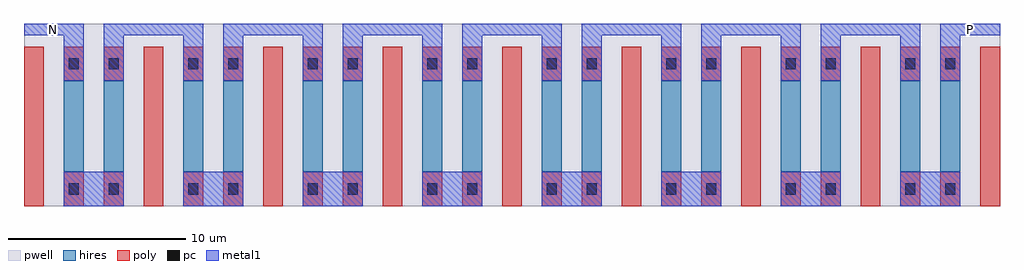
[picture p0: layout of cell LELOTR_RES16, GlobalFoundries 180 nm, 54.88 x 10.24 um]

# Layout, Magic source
magic
tech gf180mcuD
magscale 1 10
<< poly >>
rect 336 -64 560 64
rect 784 -64 1008 64
rect 1680 -64 1904 64
rect 2128 -64 2352 64
rect 3024 -64 3248 64
rect 3472 -64 3696 64
rect 4368 -64 4592 64
rect 4816 -64 5040 64
rect 5712 -64 5936 64
rect 6160 -64 6384 64
rect 7056 -64 7280 64
rect 7504 -64 7728 64
rect 8400 -64 8624 64
rect 8848 -64 9072 64
rect 9744 -64 9968 64
rect 10192 -64 10416 64
rect 336 64 560 192
rect 784 64 1008 192
rect 1680 64 1904 192
rect 2128 64 2352 192
rect 3024 64 3248 192
rect 3472 64 3696 192
rect 4368 64 4592 192
rect 4816 64 5040 192
rect 5712 64 5936 192
rect 6160 64 6384 192
rect 7056 64 7280 192
rect 7504 64 7728 192
rect 8400 64 8624 192
rect 8848 64 9072 192
rect 9744 64 9968 192
rect 10192 64 10416 192
rect 336 192 560 320
rect 784 192 1008 320
rect 1680 192 1904 320
rect 2128 192 2352 320
rect 3024 192 3248 320
rect 3472 192 3696 320
rect 4368 192 4592 320
rect 4816 192 5040 320
rect 5712 192 5936 320
rect 6160 192 6384 320
rect 7056 192 7280 320
rect 7504 192 7728 320
rect 8400 192 8624 320
rect 8848 192 9072 320
rect 9744 192 9968 320
rect 10192 192 10416 320
rect 336 1344 560 1472
rect 784 1344 1008 1472
rect 1680 1344 1904 1472
rect 2128 1344 2352 1472
rect 3024 1344 3248 1472
rect 3472 1344 3696 1472
rect 4368 1344 4592 1472
rect 4816 1344 5040 1472
rect 5712 1344 5936 1472
rect 6160 1344 6384 1472
rect 7056 1344 7280 1472
rect 7504 1344 7728 1472
rect 8400 1344 8624 1472
rect 8848 1344 9072 1472
rect 9744 1344 9968 1472
rect 10192 1344 10416 1472
rect 336 1472 560 1600
rect 784 1472 1008 1600
rect 1680 1472 1904 1600
rect 2128 1472 2352 1600
rect 3024 1472 3248 1600
rect 3472 1472 3696 1600
rect 4368 1472 4592 1600
rect 4816 1472 5040 1600
rect 5712 1472 5936 1600
rect 6160 1472 6384 1600
rect 7056 1472 7280 1600
rect 7504 1472 7728 1600
rect 8400 1472 8624 1600
rect 8848 1472 9072 1600
rect 9744 1472 9968 1600
rect 10192 1472 10416 1600
rect 336 1600 560 1728
rect 784 1600 1008 1728
rect 1680 1600 1904 1728
rect 2128 1600 2352 1728
rect 3024 1600 3248 1728
rect 3472 1600 3696 1728
rect 4368 1600 4592 1728
rect 4816 1600 5040 1728
rect 5712 1600 5936 1728
rect 6160 1600 6384 1728
rect 7056 1600 7280 1728
rect 7504 1600 7728 1728
rect 8400 1600 8624 1728
rect 8848 1600 9072 1728
rect 9744 1600 9968 1728
rect 10192 1600 10416 1728
rect -112 -64 112 64
rect 1232 -64 1456 64
rect 2576 -64 2800 64
rect 3920 -64 4144 64
rect 5264 -64 5488 64
rect 6608 -64 6832 64
rect 7952 -64 8176 64
rect 9296 -64 9520 64
rect 10640 -64 10864 64
rect -112 64 112 192
rect 1232 64 1456 192
rect 2576 64 2800 192
rect 3920 64 4144 192
rect 5264 64 5488 192
rect 6608 64 6832 192
rect 7952 64 8176 192
rect 9296 64 9520 192
rect 10640 64 10864 192
rect -112 192 112 320
rect 1232 192 1456 320
rect 2576 192 2800 320
rect 3920 192 4144 320
rect 5264 192 5488 320
rect 6608 192 6832 320
rect 7952 192 8176 320
rect 9296 192 9520 320
rect 10640 192 10864 320
rect -112 320 112 448
rect 1232 320 1456 448
rect 2576 320 2800 448
rect 3920 320 4144 448
rect 5264 320 5488 448
rect 6608 320 6832 448
rect 7952 320 8176 448
rect 9296 320 9520 448
rect 10640 320 10864 448
rect -112 448 112 576
rect 1232 448 1456 576
rect 2576 448 2800 576
rect 3920 448 4144 576
rect 5264 448 5488 576
rect 6608 448 6832 576
rect 7952 448 8176 576
rect 9296 448 9520 576
rect 10640 448 10864 576
rect -112 576 112 704
rect 1232 576 1456 704
rect 2576 576 2800 704
rect 3920 576 4144 704
rect 5264 576 5488 704
rect 6608 576 6832 704
rect 7952 576 8176 704
rect 9296 576 9520 704
rect 10640 576 10864 704
rect -112 704 112 832
rect 1232 704 1456 832
rect 2576 704 2800 832
rect 3920 704 4144 832
rect 5264 704 5488 832
rect 6608 704 6832 832
rect 7952 704 8176 832
rect 9296 704 9520 832
rect 10640 704 10864 832
rect -112 832 112 960
rect 1232 832 1456 960
rect 2576 832 2800 960
rect 3920 832 4144 960
rect 5264 832 5488 960
rect 6608 832 6832 960
rect 7952 832 8176 960
rect 9296 832 9520 960
rect 10640 832 10864 960
rect -112 960 112 1088
rect 1232 960 1456 1088
rect 2576 960 2800 1088
rect 3920 960 4144 1088
rect 5264 960 5488 1088
rect 6608 960 6832 1088
rect 7952 960 8176 1088
rect 9296 960 9520 1088
rect 10640 960 10864 1088
rect -112 1088 112 1216
rect 1232 1088 1456 1216
rect 2576 1088 2800 1216
rect 3920 1088 4144 1216
rect 5264 1088 5488 1216
rect 6608 1088 6832 1216
rect 7952 1088 8176 1216
rect 9296 1088 9520 1216
rect 10640 1088 10864 1216
rect -112 1216 112 1344
rect 1232 1216 1456 1344
rect 2576 1216 2800 1344
rect 3920 1216 4144 1344
rect 5264 1216 5488 1344
rect 6608 1216 6832 1344
rect 7952 1216 8176 1344
rect 9296 1216 9520 1344
rect 10640 1216 10864 1344
rect -112 1344 112 1472
rect 1232 1344 1456 1472
rect 2576 1344 2800 1472
rect 3920 1344 4144 1472
rect 5264 1344 5488 1472
rect 6608 1344 6832 1472
rect 7952 1344 8176 1472
rect 9296 1344 9520 1472
rect 10640 1344 10864 1472
rect -112 1472 112 1600
rect 1232 1472 1456 1600
rect 2576 1472 2800 1600
rect 3920 1472 4144 1600
rect 5264 1472 5488 1600
rect 6608 1472 6832 1600
rect 7952 1472 8176 1600
rect 9296 1472 9520 1600
rect 10640 1472 10864 1600
rect -112 1600 112 1728
rect 1232 1600 1456 1728
rect 2576 1600 2800 1728
rect 3920 1600 4144 1728
rect 5264 1600 5488 1728
rect 6608 1600 6832 1728
rect 7952 1600 8176 1728
rect 9296 1600 9520 1728
rect 10640 1600 10864 1728
<< hires >>
rect 336 320 560 448
rect 784 320 1008 448
rect 1680 320 1904 448
rect 2128 320 2352 448
rect 3024 320 3248 448
rect 3472 320 3696 448
rect 4368 320 4592 448
rect 4816 320 5040 448
rect 5712 320 5936 448
rect 6160 320 6384 448
rect 7056 320 7280 448
rect 7504 320 7728 448
rect 8400 320 8624 448
rect 8848 320 9072 448
rect 9744 320 9968 448
rect 10192 320 10416 448
rect 336 448 560 576
rect 784 448 1008 576
rect 1680 448 1904 576
rect 2128 448 2352 576
rect 3024 448 3248 576
rect 3472 448 3696 576
rect 4368 448 4592 576
rect 4816 448 5040 576
rect 5712 448 5936 576
rect 6160 448 6384 576
rect 7056 448 7280 576
rect 7504 448 7728 576
rect 8400 448 8624 576
rect 8848 448 9072 576
rect 9744 448 9968 576
rect 10192 448 10416 576
rect 336 576 560 704
rect 784 576 1008 704
rect 1680 576 1904 704
rect 2128 576 2352 704
rect 3024 576 3248 704
rect 3472 576 3696 704
rect 4368 576 4592 704
rect 4816 576 5040 704
rect 5712 576 5936 704
rect 6160 576 6384 704
rect 7056 576 7280 704
rect 7504 576 7728 704
rect 8400 576 8624 704
rect 8848 576 9072 704
rect 9744 576 9968 704
rect 10192 576 10416 704
rect 336 704 560 832
rect 784 704 1008 832
rect 1680 704 1904 832
rect 2128 704 2352 832
rect 3024 704 3248 832
rect 3472 704 3696 832
rect 4368 704 4592 832
rect 4816 704 5040 832
rect 5712 704 5936 832
rect 6160 704 6384 832
rect 7056 704 7280 832
rect 7504 704 7728 832
rect 8400 704 8624 832
rect 8848 704 9072 832
rect 9744 704 9968 832
rect 10192 704 10416 832
rect 336 832 560 960
rect 784 832 1008 960
rect 1680 832 1904 960
rect 2128 832 2352 960
rect 3024 832 3248 960
rect 3472 832 3696 960
rect 4368 832 4592 960
rect 4816 832 5040 960
rect 5712 832 5936 960
rect 6160 832 6384 960
rect 7056 832 7280 960
rect 7504 832 7728 960
rect 8400 832 8624 960
rect 8848 832 9072 960
rect 9744 832 9968 960
rect 10192 832 10416 960
rect 336 960 560 1088
rect 784 960 1008 1088
rect 1680 960 1904 1088
rect 2128 960 2352 1088
rect 3024 960 3248 1088
rect 3472 960 3696 1088
rect 4368 960 4592 1088
rect 4816 960 5040 1088
rect 5712 960 5936 1088
rect 6160 960 6384 1088
rect 7056 960 7280 1088
rect 7504 960 7728 1088
rect 8400 960 8624 1088
rect 8848 960 9072 1088
rect 9744 960 9968 1088
rect 10192 960 10416 1088
rect 336 1088 560 1216
rect 784 1088 1008 1216
rect 1680 1088 1904 1216
rect 2128 1088 2352 1216
rect 3024 1088 3248 1216
rect 3472 1088 3696 1216
rect 4368 1088 4592 1216
rect 4816 1088 5040 1216
rect 5712 1088 5936 1216
rect 6160 1088 6384 1216
rect 7056 1088 7280 1216
rect 7504 1088 7728 1216
rect 8400 1088 8624 1216
rect 8848 1088 9072 1216
rect 9744 1088 9968 1216
rect 10192 1088 10416 1216
rect 336 1216 560 1344
rect 784 1216 1008 1344
rect 1680 1216 1904 1344
rect 2128 1216 2352 1344
rect 3024 1216 3248 1344
rect 3472 1216 3696 1344
rect 4368 1216 4592 1344
rect 4816 1216 5040 1344
rect 5712 1216 5936 1344
rect 6160 1216 6384 1344
rect 7056 1216 7280 1344
rect 7504 1216 7728 1344
rect 8400 1216 8624 1344
rect 8848 1216 9072 1344
rect 9744 1216 9968 1344
rect 10192 1216 10416 1344
<< pc >>
rect 392 64 504 128
rect 392 128 504 192
rect 840 64 952 128
rect 840 128 952 192
rect 1736 64 1848 128
rect 1736 128 1848 192
rect 2184 64 2296 128
rect 2184 128 2296 192
rect 3080 64 3192 128
rect 3080 128 3192 192
rect 3528 64 3640 128
rect 3528 128 3640 192
rect 4424 64 4536 128
rect 4424 128 4536 192
rect 4872 64 4984 128
rect 4872 128 4984 192
rect 5768 64 5880 128
rect 5768 128 5880 192
rect 6216 64 6328 128
rect 6216 128 6328 192
rect 7112 64 7224 128
rect 7112 128 7224 192
rect 7560 64 7672 128
rect 7560 128 7672 192
rect 8456 64 8568 128
rect 8456 128 8568 192
rect 8904 64 9016 128
rect 8904 128 9016 192
rect 9800 64 9912 128
rect 9800 128 9912 192
rect 10248 64 10360 128
rect 10248 128 10360 192
rect 392 1472 504 1536
rect 392 1536 504 1600
rect 840 1472 952 1536
rect 840 1536 952 1600
rect 1736 1472 1848 1536
rect 1736 1536 1848 1600
rect 2184 1472 2296 1536
rect 2184 1536 2296 1600
rect 3080 1472 3192 1536
rect 3080 1536 3192 1600
rect 3528 1472 3640 1536
rect 3528 1536 3640 1600
rect 4424 1472 4536 1536
rect 4424 1536 4536 1600
rect 4872 1472 4984 1536
rect 4872 1536 4984 1600
rect 5768 1472 5880 1536
rect 5768 1536 5880 1600
rect 6216 1472 6328 1536
rect 6216 1536 6328 1600
rect 7112 1472 7224 1536
rect 7112 1536 7224 1600
rect 7560 1472 7672 1536
rect 7560 1536 7672 1600
rect 8456 1472 8568 1536
rect 8456 1536 8568 1600
rect 8904 1472 9016 1536
rect 8904 1536 9016 1600
rect 9800 1472 9912 1536
rect 9800 1536 9912 1600
rect 10248 1472 10360 1536
rect 10248 1536 10360 1600
<< metal1 >>
rect 336 -64 1008 64
rect 1680 -64 2352 64
rect 3024 -64 3696 64
rect 4368 -64 5040 64
rect 5712 -64 6384 64
rect 7056 -64 7728 64
rect 8400 -64 9072 64
rect 9744 -64 10416 64
rect 336 64 1008 192
rect 1680 64 2352 192
rect 3024 64 3696 192
rect 4368 64 5040 192
rect 5712 64 6384 192
rect 7056 64 7728 192
rect 8400 64 9072 192
rect 9744 64 10416 192
rect 336 192 1008 320
rect 1680 192 2352 320
rect 3024 192 3696 320
rect 4368 192 5040 320
rect 5712 192 6384 320
rect 7056 192 7728 320
rect 8400 192 9072 320
rect 9744 192 10416 320
rect 336 1344 560 1472
rect 784 1344 1008 1472
rect 1680 1344 1904 1472
rect 2128 1344 2352 1472
rect 3024 1344 3248 1472
rect 3472 1344 3696 1472
rect 4368 1344 4592 1472
rect 4816 1344 5040 1472
rect 5712 1344 5936 1472
rect 6160 1344 6384 1472
rect 7056 1344 7280 1472
rect 7504 1344 7728 1472
rect 8400 1344 8624 1472
rect 8848 1344 9072 1472
rect 9744 1344 9968 1472
rect 10192 1344 10416 1472
rect 336 1472 560 1600
rect 784 1472 1008 1600
rect 1680 1472 1904 1600
rect 2128 1472 2352 1600
rect 3024 1472 3248 1600
rect 3472 1472 3696 1600
rect 4368 1472 4592 1600
rect 4816 1472 5040 1600
rect 5712 1472 5936 1600
rect 6160 1472 6384 1600
rect 7056 1472 7280 1600
rect 7504 1472 7728 1600
rect 8400 1472 8624 1600
rect 8848 1472 9072 1600
rect 9744 1472 9968 1600
rect 10192 1472 10416 1600
rect 336 1600 560 1728
rect 784 1600 1008 1728
rect 1680 1600 1904 1728
rect 2128 1600 2352 1728
rect 3024 1600 3248 1728
rect 3472 1600 3696 1728
rect 4368 1600 4592 1728
rect 4816 1600 5040 1728
rect 5712 1600 5936 1728
rect 6160 1600 6384 1728
rect 7056 1600 7280 1728
rect 7504 1600 7728 1728
rect 8400 1600 8624 1728
rect 8848 1600 9072 1728
rect 9744 1600 9968 1728
rect 10192 1600 10416 1728
rect 336 1728 560 1856
rect 784 1728 1008 1856
rect 1680 1728 1904 1856
rect 2128 1728 2352 1856
rect 3024 1728 3248 1856
rect 3472 1728 3696 1856
rect 4368 1728 4592 1856
rect 4816 1728 5040 1856
rect 5712 1728 5936 1856
rect 6160 1728 6384 1856
rect 7056 1728 7280 1856
rect 7504 1728 7728 1856
rect 8400 1728 8624 1856
rect 8848 1728 9072 1856
rect 9744 1728 9968 1856
rect 10192 1728 10416 1856
rect -112 1856 560 1984
rect -112 1856 560 1984
rect 784 1856 1904 1984
rect 10192 1856 10864 1984
rect 2128 1856 3248 1984
rect 3472 1856 4592 1984
rect 4816 1856 5936 1984
rect 6160 1856 7280 1984
rect 7504 1856 8624 1984
rect 8848 1856 9968 1984
rect 10192 1856 10864 1984
<< pwell >>
rect -112 -64 10864 1984
<< labels >>
flabel metal1 s -112 1856 560 1984 0 FreeSans 400 0 0 0 N
port 1 nsew signal bidirectional
flabel metal1 s 10192 1856 10864 1984 0 FreeSans 400 0 0 0 P
port 2 nsew signal bidirectional
<< properties >>
string FIXED_BBOX 0 0 10752 1920
<< end >>
